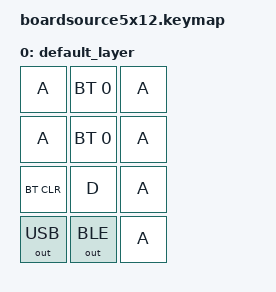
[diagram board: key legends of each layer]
// This file was generated from a template. Edit it to match your keyboard.
// See https://zmk.dev/docs/development/hardware-integration/new-shield for more instructions.

#include <behaviors.dtsi>
#include <dt-bindings/zmk/keys.h>
#include <dt-bindings/zmk/bt.h>
#include <dt-bindings/zmk/outputs.h>

/ {
    // Define a default keymap here.
    // See https://zmk.dev/docs/development/hardware-integration/new-shield#default-keymap.
    keymap {
        compatible = "zmk,keymap";

        default_layer {
            bindings = <
                &kp A         &bt BT_SEL 0   &kp A // 0  &none &none &none &none &none &none &none &none &none 
                &kp A         &bt BT_SEL 0   &kp A // 1  &none &none &none &none &none &none &none &none &none 
                &bt BT_CLR    &kp D          &kp A // 2  &none &none &none &none &none &none &none &none &none 
                &out OUT_USB  &out OUT_BLE   &kp A // 3  &none &none &none &none &none &none &none &none &none 
            >;
        };
    };
};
